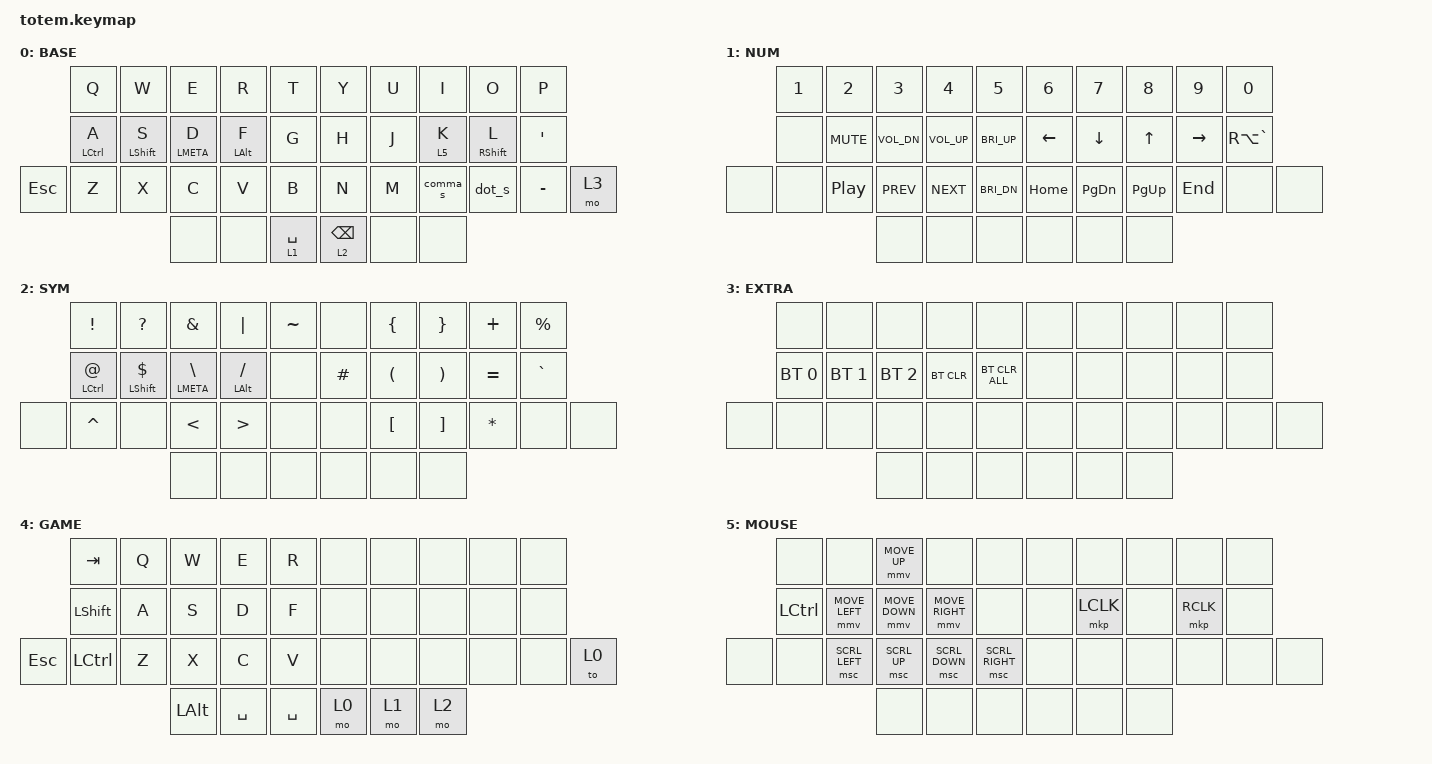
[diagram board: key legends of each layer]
#include <behaviors.dtsi>
#include <dt-bindings/zmk/keys.h>
#include <dt-bindings/zmk/bt.h>
#include <dt-bindings/zmk/outputs.h>
#include <dt-bindings/zmk/ext_power.h>
#include <dt-bindings/zmk/pointing.h>
#ifndef KEYMAP_DRAWER
#endif

#define BASE  0
#define NUM   1
#define SYM   2
#define EXTRA 3
#define GAME  4
#define MOUSE 5

&mt {
    quick-tap-ms = <100>;
    global-quick-tap;
    flavor = "tap-preferred";
    tapping-term-ms = <170>;
};

/ {
    behaviors {
        comma_s : comma_semi  {
            compatible = "zmk,behavior-mod-morph";
            #binding-cells = <0>;
            bindings = <&kp COMMA>, <&kp SEMI>;
            mods = <(MOD_LSFT|MOD_RSFT)>;
        };

        dot_s : dot_colon{
            compatible = "zmk,behavior-mod-morph";
            #binding-cells = <0>;
            bindings = <&kp DOT>, <&kp COLON>;
            mods = <(MOD_LSFT|MOD_RSFT)>;
        };
    };
    combos {
        compatible = "zmk,combos";
        enter {
            bindings = <&kp ENTER>;
            key-positions = <16 17>;
            timeout-ms = <50>;
        };
        tab {
            bindings = <&kp TAB>;
            key-positions = <12 13>;
            timeout-ms = <50>;
            layers = <0 1 2 3>;
        };
        to_game_layer {
                bindings = <&to 4>;
            key-positions = <4 5>;
            layers = <0 1 2 3>;
            timeout-ms = <50>;
        };
        caps_word{
            bindings = <&caps_word>;
            key-positions = <11 18>;
            layers = <0 1 2 3>;
            timeout-ms = <50>;
        };
    };
    macros {
    };
  keymap {
      compatible = "zmk,keymap";
      base_layer {
          label = "BASE";
          bindings = <
        &kp Q       &kp W       &kp E       &kp R      &kp T          &kp Y      &kp U &kp I    &kp O       &kp P
        &mt LCTRL A &mt LSHFT S &mt LMETA D &mt LALT F &kp G          &kp H      &kp J &lt 5 K  &mt RSHFT L &kp APOS
&kp ESC &kp Z       &kp X       &kp C       &kp V      &kp B          &kp N      &kp M &comma_s &dot_s      &kp MINUS  &mo 3
                                &none       &none      &lt 1 SPACE    &lt 2 BSPC &none &none
          >; 
      };
      num_layer {
          label = "NUM";
          bindings = <
         &kp N1  &kp N2     &kp N3       &kp N4       &kp N5          &kp N6   &kp N7    &kp N8    &kp N9    &kp N0
         &none   &kp C_MUTE &kp C_VOL_DN &kp C_VOL_UP &kp C_BRI_UP    &kp LEFT &kp DOWN  &kp UP    &kp RIGHT &kp RA(GRAVE)
 &none   &none   &kp C_PP   &kp C_PREV   &kp C_NEXT   &kp C_BRI_DN    &kp HOME &kp PG_DN &kp PG_UP &kp END   &none             &none 
                            &none        &none        &none           &none    &none     &none  
          >;
      };
      sym_layer {
          label = "SYM";
          bindings = <
      &kp EXCL     &kp QMARK      &kp AMPS       &kp PIPE       &kp TILDE    &none    &kp LBRC &kp RBRC  &kp PLUS  &kp PRCNT
      &mt LCTRL AT &mt LSHFT DLLR &mt LMETA BSLH &mt LALT SLASH &none        &kp HASH &kp LPAR &kp RPAR  &kp EQUAL &kp GRAVE
&none &kp CARET    &none          &kp LT         &kp GT         &none        &none    &kp LBKT &kp RBKT  &kp ASTRK &none     &none 
                                  &none          &none          &none        &none    &none    &none        
          >;
      };

      extra_layer {
          label = "EXTRA";
          bindings = <
      &none        &none        &none        &none      &none             &none &none &none &none &none          
      &bt BT_SEL 0 &bt BT_SEL 1 &bt BT_SEL 2 &bt BT_CLR &bt BT_CLR_ALL    &none &none &none &none &none            
&none &none        &none        &none        &none      &none             &none &none &none &none &none &none        
                                &none        &none      &none             &none &none &none 
          >;
      };
      game_layer {
          label = "GAME";
          bindings = <
        &kp TAB   &kp Q &kp W    &kp E     &kp R        &none   &none   &none   &none   &none 
        &kp LSHFT &kp A &kp S    &kp D     &kp F        &none   &none   &none   &none   &none 
&kp ESC &kp LCTRL &kp Z &kp X    &kp C     &kp V        &none   &none   &none   &none   &none   &to 0
                        &kp LALT &kp SPACE &kp SPACE    &mo 0   &mo 1   &mo 2
          >;
      };
      mouse_layer {
          label = "MOUSE";
          bindings = <
        &none     &none          &mmv MOVE_UP   &none           &none              &none &none     &none &none     &none 
        &kp LCTRL &mmv MOVE_LEFT &mmv MOVE_DOWN &mmv MOVE_RIGHT &none              &none &mkp LCLK &none &mkp RCLK &none 
&none   &none     &msc SCRL_LEFT &msc SCRL_UP   &msc SCRL_DOWN  &msc SCRL_RIGHT    &none &none     &none &none     &none &none 
                                 &none          &none           &none              &none &none     &none    
          >;
      };
  };
};
